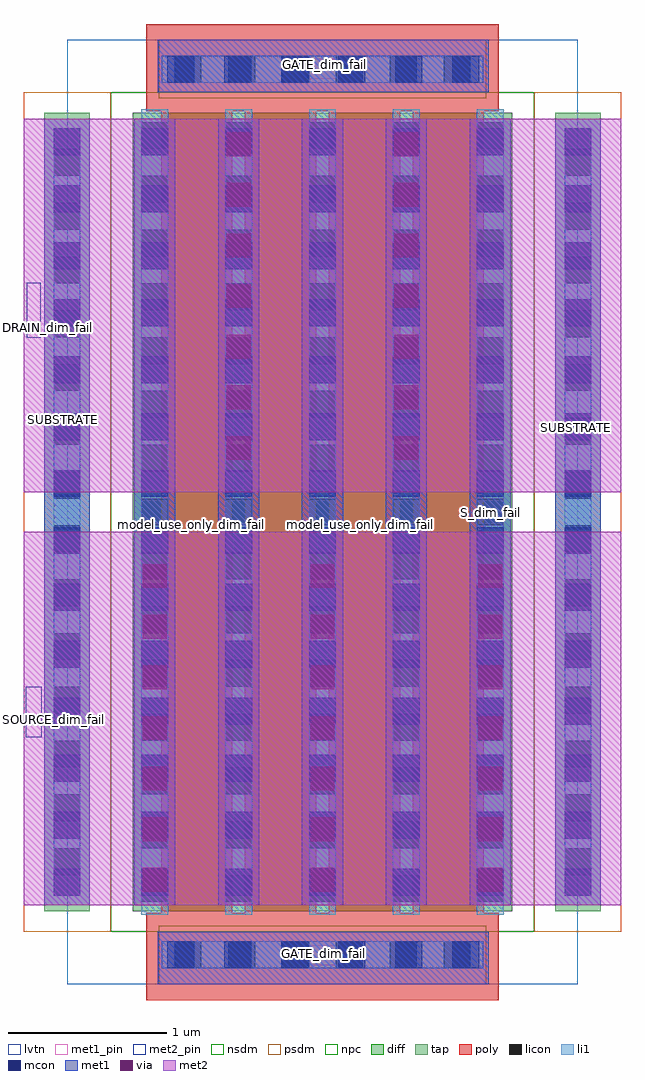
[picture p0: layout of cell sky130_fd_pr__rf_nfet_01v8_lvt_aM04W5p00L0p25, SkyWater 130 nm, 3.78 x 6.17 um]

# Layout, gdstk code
import gdstk
lib = gdstk.Library(unit=1e-6, precision=1e-09)
def R(c, l, rs):  # rectangles x0, y0, x1, y1
    for r in rs: c.add(gdstk.rectangle(r[:2], r[2:], *l))
def A(c, l, x, y, w, h, nx, ny, dx, dy):  # array of equal rectangles
    R(c, l, [(x+i*dx, y+j*dy, x+i*dx+w, y+j*dy+h) for i in range(nx) for j in range(ny)])
def P(c, l, *ps):  # polygons
    for p in ps: c.add(gdstk.Polygon(p, *l))
diff = (65, 20)
tap = (65, 44)
poly = (66, 20)
licon = (66, 44)
li1 = (67, 20)
mcon = (67, 44)
met1_pin = (68, 16)
met1 = (68, 20)
via = (68, 44)
met2_pin = (69, 16)
met2 = (69, 20)
nsdm = (93, 44)
psdm = (94, 20)
npc = (95, 20)
lvtn = (125, 44)

sky130_fd_pr__rf_nfet_01 = lib.new_cell('sky130_fd_pr__rf_nfet_01v8_lvt_aM04W5p00L0p25')
R(sky130_fd_pr__rf_nfet_01, diff, [(0.69,0.46,3.09,5.51)])
R(sky130_fd_pr__rf_nfet_01, tap, [(0.13,0.46,0.42,5.51), (3.36,0.46,3.65,5.51)])
P(sky130_fd_pr__rf_nfet_01, poly, [(0.775,-0.1),(0.775,0.45),(0.87,0.45),(0.87,5.52),(1.32,5.52),(1.32,0.45),(1.4,0.45),(1.4,5.52),(1.85,5.52),(1.85,0.45),(1.93,0.45),(1.93,5.52),(2.38,5.52),(2.38,0.45),(2.46,0.45),(2.46,5.52),(0.775,5.52),(0.775,6.07),(3.005,6.07),(3.005,5.52),(2.91,5.52),(2.91,0.45),(3.005,0.45),(3.005,-0.1)])
A(sky130_fd_pr__rf_nfet_01, licon, 0.955, 0.1, 0.17, 0.17, 6, 2, 0.34, 5.6)
A(sky130_fd_pr__rf_nfet_01, licon, 0.745, 0.52, 0.17, 0.17, 5, 15, 0.53, 0.34)
A(sky130_fd_pr__rf_nfet_01, licon, 0.19, 0.69, 0.17, 0.17, 1, 14, 0, 0.34)
A(sky130_fd_pr__rf_nfet_01, licon, 3.42, 0.69, 0.17, 0.17, 1, 14, 0, 0.34)
A(sky130_fd_pr__rf_nfet_01, li1, 0.745, 0.44, 0.17, 5.09, 5, 1, 0.53, 0)
A(sky130_fd_pr__rf_nfet_01, li1, 0.745, 1.64, 0.17, 2.69, 5, 1, 0.53, 0)
R(sky130_fd_pr__rf_nfet_01, li1, [(0.875,0.1,2.905,0.27), (0.91,0.1,2.88,0.27), (0.19,0.56,0.36,5.41), (3.42,0.56,3.59,5.41), (0.19,0.61,0.36,5.36), (3.42,0.61,3.59,5.36), (0.19,1.63,0.36,4.34), (3.42,1.63,3.59,4.34), (0.875,5.7,2.905,5.87), (0.91,5.7,2.88,5.87)])
A(sky130_fd_pr__rf_nfet_01, mcon, 0.91, 0.1, 0.17, 0.17, 6, 2, 0.36, 5.6)
A(sky130_fd_pr__rf_nfet_01, mcon, 0.19, 0.56, 0.17, 0.17, 1, 14, 0, 0.36)
A(sky130_fd_pr__rf_nfet_01, mcon, 0.745, 0.56, 0.17, 0.17, 5, 14, 0.53, 0.36)
A(sky130_fd_pr__rf_nfet_01, mcon, 3.42, 0.56, 0.17, 0.17, 1, 14, 0, 0.36)
R(sky130_fd_pr__rf_nfet_01, met1_pin, [(1.69,0.12,2.1,0.245), (0.19,2.945,0.36,3.025), (3.42,2.945,3.59,3.025), (1.695,5.725,2.105,5.85)])
A(sky130_fd_pr__rf_nfet_01, met1, 0.7, 0.5, 0.26, 2.24, 3, 1, 1.06, 0)
A(sky130_fd_pr__rf_nfet_01, met1, 0.7, 0.5, 0.26, 4.97, 5, 1, 0.53, 0)
R(sky130_fd_pr__rf_nfet_01, met1, [(0.85,0,2.94,0.33), (0.13,0.5,0.42,5.47), (3.36,0.5,3.65,5.47), (1.23,3.23,1.49,5.47), (2.29,3.23,2.55,5.47), (0.85,5.64,2.94,5.97)])
A(sky130_fd_pr__rf_nfet_01, via, 0.755, 0.585, 0.15, 0.15, 3, 7, 1.06, 0.32)
A(sky130_fd_pr__rf_nfet_01, via, 1.285, 3.315, 0.15, 0.15, 1, 7, 0, 0.32)
A(sky130_fd_pr__rf_nfet_01, via, 2.345, 3.315, 0.15, 0.15, 1, 7, 0, 0.32)
R(sky130_fd_pr__rf_nfet_01, met2_pin, [(0.015,1.56,0.115,1.88), (0.02,4.085,0.11,4.435)])
A(sky130_fd_pr__rf_nfet_01, met2, 0.7, 0.5, 0.26, 2.24, 3, 1, 1.06, 0)
R(sky130_fd_pr__rf_nfet_01, met2, [(0,0.5,3.78,2.86), (0,3.11,3.78,5.47), (1.23,3.23,1.49,5.47), (2.29,3.23,2.55,5.47)])
R(sky130_fd_pr__rf_nfet_01, nsdm, [(0.55,0.33,3.23,5.64)])
R(sky130_fd_pr__rf_nfet_01, psdm, [(0,0.33,0.55,5.64), (3.23,0.33,3.78,5.64)])
R(sky130_fd_pr__rf_nfet_01, npc, [(0.855,0,2.925,0.37), (0.855,5.6,2.925,5.97)])
R(sky130_fd_pr__rf_nfet_01, lvtn, [(0.275,0,3.505,5.97)])
sky130_fd_pr__rf_nfet_01.add(gdstk.Label('model_use_only_dim_fail', (1.065,2.905), layer=66, texttype=83))
sky130_fd_pr__rf_nfet_01.add(gdstk.Label('model_use_only_dim_fail', (1.59,2.905), layer=66, texttype=83))
sky130_fd_pr__rf_nfet_01.add(gdstk.Label('model_use_only_dim_fail', (2.13,2.905), layer=66, texttype=83))
sky130_fd_pr__rf_nfet_01.add(gdstk.Label('model_use_only_dim_fail', (2.65,2.905), layer=66, texttype=83))
sky130_fd_pr__rf_nfet_01.add(gdstk.Label('S_dim_fail', (0.83,2.985), layer=83, texttype=44))
sky130_fd_pr__rf_nfet_01.add(gdstk.Label('S_dim_fail', (0.83,2.985), layer=83, texttype=44))
sky130_fd_pr__rf_nfet_01.add(gdstk.Label('S_dim_fail', (1.36,2.985), layer=83, texttype=44))
sky130_fd_pr__rf_nfet_01.add(gdstk.Label('D_dim_fail', (1.36,2.985), layer=83, texttype=44))
sky130_fd_pr__rf_nfet_01.add(gdstk.Label('S_dim_fail', (1.89,2.985), layer=83, texttype=44))
sky130_fd_pr__rf_nfet_01.add(gdstk.Label('S_dim_fail', (1.89,2.985), layer=83, texttype=44))
sky130_fd_pr__rf_nfet_01.add(gdstk.Label('S_dim_fail', (2.42,2.985), layer=83, texttype=44))
sky130_fd_pr__rf_nfet_01.add(gdstk.Label('D_dim_fail', (2.42,2.985), layer=83, texttype=44))
sky130_fd_pr__rf_nfet_01.add(gdstk.Label('S_dim_fail', (2.95,2.985), layer=83, texttype=44))
sky130_fd_pr__rf_nfet_01.add(gdstk.Label('DRAIN_dim_fail', (0.065,4.15), layer=69, texttype=5))
sky130_fd_pr__rf_nfet_01.add(gdstk.Label('SOURCE_dim_fail', (0.07,1.675), layer=69, texttype=5))
sky130_fd_pr__rf_nfet_01.add(gdstk.Label('GATE_dim_fail', (1.895,0.195), layer=68, texttype=5))
sky130_fd_pr__rf_nfet_01.add(gdstk.Label('GATE_dim_fail', (1.9,5.815), layer=68, texttype=5))
sky130_fd_pr__rf_nfet_01.add(gdstk.Label('SUBSTRATE', (0.255,3.57), layer=68, texttype=5))
sky130_fd_pr__rf_nfet_01.add(gdstk.Label('SUBSTRATE', (3.495,3.52), layer=68, texttype=5))

lib.write_gds('sky130_fd_pr__rf_nfet_01v8_lvt_aM04W5p00L0p25.gds')
